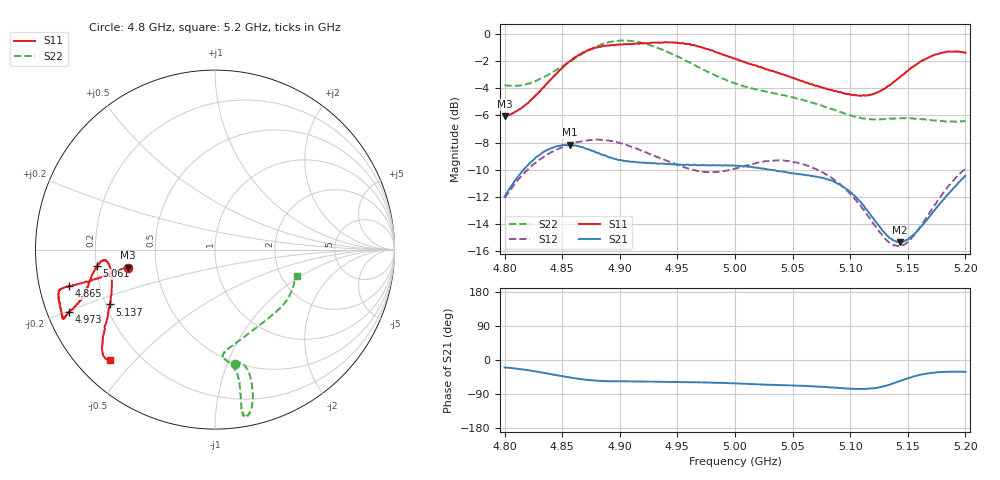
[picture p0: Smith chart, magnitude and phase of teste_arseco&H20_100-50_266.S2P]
! Network Analyzer HP8722D
! Hewlett-Packard
! Data name: Linha & Wilkinson
! Saver's name: Rodrigo Anjos
! Comments: Teste da utilização de aquisição
! continua pelo VNA HP8722D
! Time and date: 6/5/2025 14:47
!  Frequency  S11  S21  S12  S22
# HZ  S  MA R 50
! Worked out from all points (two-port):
!   401 points, 4.8 GHz to 5.2 GHz, reference 50 ohm
!   highest |S21| = -8.15 dB at 4.857 GHz (marker M1); lowest = -15.3 dB at 5.143 GHz (marker M2)
!   |S21| within 3 dB of the highest: 4.806 GHz to 5.092 GHz (285.7 MHz wide, 5.77 % of centre); 5.191966 GHz to end of sweep
!   lowest |S11| = -6.1 dB at 4.8 GHz (marker M3), VSWR 2.97, Z = 17 - j4.56 ohm
!   |S11| at or under -10 dB: nowhere
!   |S22| runs from -6.5 to -0.5 dB; largest |S21 - S12| = 0.62
!   S11 on the Smith chart (normalised r, x): 4.8 GHz: 0.34, -0.09; 4.865 GHz: 0.09, -0.12; 4.973 GHz: 0.06, -0.20; 5.061 GHz: 0.20, -0.07; 5.137 GHz: 0.22, -0.23; 5.2 GHz: 0.09, -0.43
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4.8e9  0.4966 -168.2  0.2519 -19.8  0.2487 -141.0  0.6471 -80.3
4.828e9  0.6004 -167.1  0.3535 -30.7  0.3383 -145.0  0.6741 -75.3
4.857e9  0.7951 -165.9  0.3913 -46.3  0.3929 -150.3  0.7921 -74.8
4.865e9  0.8384 -166.1  0.3853 -49.9  0.401 -151.7  0.8323 -75.2
4.867e9  0.8474 -165.9  0.3834 -50.8  0.4028 -152.0  0.8423 -75.4
4.883e9  0.8946 -165.3  0.3613 -55.1  0.4082 -154.8  0.9094 -77.2
4.9e9  0.9142 -162.6  0.3435 -56.4  0.3963 -156.6  0.9427 -79.2
4.934e9  0.9281 -156.6  0.3333 -57.6  0.3509 -155.7  0.8835 -80.4
4.949e9  0.9272 -155.5  0.331 -57.9  0.3308 -153.0  0.8297 -80.1
4.973e9  0.8864 -156.8  0.3288 -59.4  0.3107 -145.8  0.7362 -79.7
5e9  0.8101 -159.2  0.3275 -61.9  0.3196 -137.3  0.6573 -81.3
5.035e9  0.723 -165.4  0.3144 -65.9  0.342 -134.4  0.6029 -85.6
5.061e9  0.6626 -172.0  0.3031 -68.3  0.3298 -136.3  0.5683 -83.9
5.067e9  0.6523 -173.1  0.3009 -69.2  0.3228 -136.8  0.5583 -82.6
5.086e9  0.616 -174.6  0.2858 -72.9  0.291 -138.4  0.5256 -75.4
5.103e9  0.5952 -171.7  0.2554 -76.2  0.2498 -138.6  0.4969 -65.3
5.134e9  0.6456 -154.2  0.1778 -65.3  0.1707 -120.7  0.4876 -43.3
5.137e9  0.6607 -152.4  0.1743 -62.2  0.1677 -116.9  0.4879 -41.6
5.143e9  0.6919 -149.4  0.1709 -55.7  0.1657 -108.9  0.4893 -38.0
5.154e9  0.7548 -144.4  0.1812 -44.6  0.1791 -95.0  0.4893 -32.4
5.172e9  0.8334 -139.1  0.2211 -33.5  0.2297 -81.1  0.4804 -24.5
5.2e9  0.8513 -133.6  0.3003 -31.5  0.3196 -77.0  0.4784 -17.6
